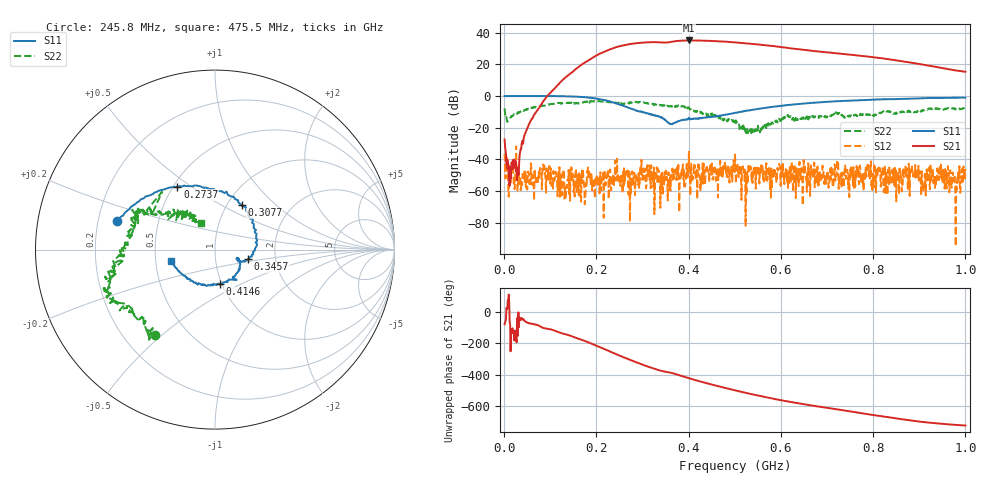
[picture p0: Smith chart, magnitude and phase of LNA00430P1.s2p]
! Created with skrf 1.9.0 (http://scikit-rf.org).
# Hz S RI R 50.0
!freq ReS11 ImS11 ReS21 ImS21 ReS12 ImS12 ReS22 ImS22
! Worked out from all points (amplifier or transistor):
!   1001 points, 1 MHz to 1 GHz, reference 50 ohm
!   highest |S21| = 35.0 dB at 400.6 MHz (marker M1)
!   |S21| within 3 dB of that: 260.3 MHz to 565.7 MHz (305.4 MHz wide, 74 % of centre)
!   unconditionally stable (mu >= 1): 297.9 MHz to 400.1 MHz; 401 MHz to 500.5 MHz; 500.5 MHz to end of sweep (the widest 3 of 37)
!   at 166.8 MHz: K = 9.25, MAG = 30.4 dB, |S12| = -66.6 dB
!   at 500.5 MHz: K = 1.00, MSG = 35.4 dB, |S12| = -36.9 dB
!   at 1 GHz: K = 3.14, MAG = 22.8 dB, |S12| = -46.0 dB
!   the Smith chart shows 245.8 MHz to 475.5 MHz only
!   S11 on the Smith chart (normalised r, x): 245.8 MHz: 0.28, +0.13; 273.7 MHz: 0.53, +0.44; 307.7 MHz: 1.16, +0.63; 345.7 MHz: 1.44, -0.16; 414.6 MHz: 0.98, -0.39; 475.5 MHz: 0.60, -0.08
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1000000  0.9933 0.00624  0.00969 -0.0416  0.0118 -0.00943  0.2999 0.2768
1.08892e8  0.5301 -0.84  -0.7969 -1.515  -0.00214 -0.000207  0.4264 -0.3847
1.67833e8  -0.2116 -0.9088  -9.709 -0.6411  0.00213 0.00286  0.0399 -0.6282
2.11789e8  -0.6749 -0.379  -15.4 17.33  0.00236 -0.00084  -0.2116 -0.6315
2.45755e8  -0.5478 0.1583  0.9353 35.61  -0.00218 -0.000338  -0.3366 -0.4777
2.73727e8  -0.2098 0.3502  25.69 35.14  -0.00198 -0.00137  -0.5432 -0.3046
3.07693e8  0.1479 0.248  47.03 14.29  -3.65e-05 0.00123  -0.5674 -0.1437
3.34666e8  0.2336 0.0231  48.84 -8.42  -0.00305 0.0035  -0.5304 -0.00227
3.45655e8  0.1847 -0.0541  46.15 -15.2  3.19e-05 0.00179  -0.5035 0.0457
3.72628e8  0.1366 -0.0633  43.78 -31.87  -0.000155 0.00497  -0.4675 0.176
4.006e8  0.1208 -0.1685  26.28 -50.02  -0.0068 0.0161  -0.2954 0.3214
4.14586e8  0.0257 -0.1931  15.69 -53.94  0.00158 0.00338  -0.2592 0.1874
4.45555e8  -0.13 -0.173  -8.212 -54.03  0.00338 0.0039  -0.1758 0.1912
4.75525e8  -0.2433 -0.0635  -27.15 -44.55  0.00584 -0.00237  -0.078 0.1489
5.005e8  -0.2863 0.0728  -37.44 -32.05  0.0139 -0.00354  -0.0961 0.0777
5.39461e8  -0.2497 0.2735  -42.44 -10.78  0.00442 -0.00212  -0.0746 0.0143
5.84416e8  -0.091 0.4522  -36.47 8.656  0.00397 -0.00304  -0.1351 -0.0383
6.24376e8  0.0863 0.529  -25.75 18.17  -0.000748 -0.00377  -0.1741 -0.0424
6.67333e8  0.2927 0.5317  -14.64 22.11  -0.00341 -0.00285  -0.2232 0.00946
7.55245e8  0.6101 0.3873  2.032 19.61  -0.00256 -0.00391  -0.2435 0.0676
8.34166e8  0.7763 0.1641  9.566 10.79  -0.00132 -0.000615  -0.3134 0.0568
1e9  0.8223 -0.3593  5.827 -0.3628  0.000601 -0.005  -0.2342 0.3297
